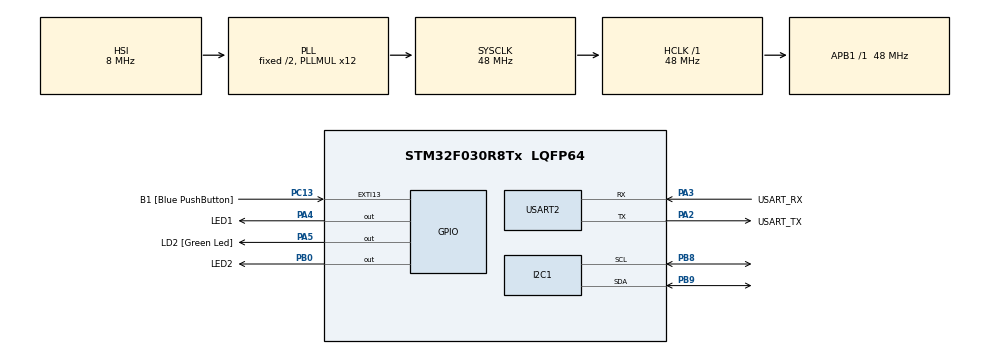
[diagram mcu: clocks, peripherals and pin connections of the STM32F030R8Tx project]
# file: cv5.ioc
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Dma.Request0=USART2_RX
Dma.USART2_RX.0.Direction=DMA_PERIPH_TO_MEMORY
Dma.USART2_RX.0.Instance=DMA1_Channel5
Dma.USART2_RX.0.MemDataAlignment=DMA_MDATAALIGN_BYTE
Dma.USART2_RX.0.MemInc=DMA_MINC_ENABLE
Dma.USART2_RX.0.Mode=DMA_CIRCULAR
Dma.USART2_RX.0.PeriphDataAlignment=DMA_PDATAALIGN_BYTE
Dma.USART2_RX.0.PeriphInc=DMA_PINC_DISABLE
Dma.USART2_RX.0.Priority=DMA_PRIORITY_LOW
Mcu.Family=STM32F0
Mcu.Name=STM32F030R8Tx
Mcu.Package=LQFP64
NVIC.DMA1_Channel4_5_IRQn=true\:0\:0\:false\:false\:true\:false\:true\:true
PA13.GPIO_Label=TMS
PA13.Mode=Serial_Wire
PA13.Signal=SYS_SWDIO
PA14.GPIO_Label=TCK
PA14.Mode=Serial_Wire
PA14.Signal=SYS_SWCLK
PA2.GPIO_Label=USART_TX
PA2.GPIO_Mode=GPIO_MODE_AF_PP
PA2.GPIO_PuPd=GPIO_NOPULL
PA2.GPIO_Speed=GPIO_SPEED_FREQ_LOW
PA2.Mode=Asynchronous
PA2.Signal=USART2_TX
PA3.GPIO_Label=USART_RX
PA3.GPIO_Mode=GPIO_MODE_AF_PP
PA3.GPIO_PuPd=GPIO_NOPULL
PA3.GPIO_Speed=GPIO_SPEED_FREQ_LOW
PA3.Mode=Asynchronous
PA3.Signal=USART2_RX
PA4.GPIO_Label=LED1
PA4.Signal=GPIO_Output
PA5.GPIO_Label=LD2 [Green Led]
PA5.GPIO_Mode=GPIO_MODE_OUTPUT_PP
PA5.GPIO_PuPd=GPIO_NOPULL
PA5.GPIO_Speed=GPIO_SPEED_FREQ_LOW
PA5.Signal=GPIO_Output
PB0.GPIO_Label=LED2
PB0.Signal=GPIO_Output
PB8.Mode=I2C
PB8.Signal=I2C1_SCL
PB9.Mode=I2C
PB9.Signal=I2C1_SDA
PC13.GPIO_Label=B1 [Blue PushButton]
PC13.GPIO_ModeDefaultEXTI=GPIO_MODE_IT_FALLING
PC13.Signal=GPXTI13
PC14-OSC32_IN.Mode=LSE-External-Oscillator
PC14-OSC32_IN.Signal=RCC_OSC32_IN
PC15-OSC32_OUT.Mode=LSE-External-Oscillator
PC15-OSC32_OUT.Signal=RCC_OSC32_OUT
PF0-OSC_IN.Mode=HSE-External-Clock-Source
PF0-OSC_IN.Signal=RCC_OSC_IN
PF1-OSC_OUT.Signal=RCC_OSC_OUT
ProjectManager.HeapSize=0x200
ProjectManager.StackSize=0x400
ProjectManager.TargetToolchain=STM32CubeIDE
RCC.AHBFreq_Value=48000000
RCC.APB1Freq_Value=48000000
RCC.APB1TimFreq_Value=48000000
RCC.HCLKFreq_Value=48000000
RCC.PLLMUL=RCC_PLL_MUL12
RCC.SYSCLKFreq_VALUE=48000000
RCC.SYSCLKSource=RCC_SYSCLKSOURCE_PLLCLK
USART2.VirtualMode-Asynchronous=VM_ASYNC
board=NUCLEO-F030R8

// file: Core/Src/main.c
/* USER CODE BEGIN Header */
/**
  ******************************************************************************
  * @file           : main.c
  * @brief          : Main program body
  ******************************************************************************
  * @attention
  *
  * Copyright (c) 2023 STMicroelectronics.
  * All rights reserved.
  *
  * This software is licensed under terms that can be found in the LICENSE file
  * in the root directory of this software component.
  * If no LICENSE file comes with this software, it is provided AS-IS.
  *
  ******************************************************************************
  */
/* USER CODE END Header */
#include "main.h"

/* USER CODE BEGIN Includes */
#include <stdio.h>
#include <string.h>
#include <stdlib.h>
/* USER CODE END Includes */

/* USER CODE BEGIN PD */
#define RX_BUFFER_LEN 64
#define uart_rx_write_ptr (RX_BUFFER_LEN - hdma_usart2_rx.Instance->CNDTR)
#define CMD_BUFFER_LEN 256
#define EEPROM_ADDR 0xA0
/* USER CODE END PD */

I2C_HandleTypeDef hi2c1;

UART_HandleTypeDef huart2;
DMA_HandleTypeDef hdma_usart2_rx;

/* USER CODE BEGIN PV */
static uint8_t uart_rx_buf[RX_BUFFER_LEN];
static volatile uint16_t uart_rx_read_ptr = 0;
/* USER CODE END PV */

void SystemClock_Config(void);
static void MX_GPIO_Init(void);
static void MX_DMA_Init(void);
static void MX_USART2_UART_Init(void);
static void MX_I2C1_Init(void);

/* USER CODE BEGIN 0 */
static void uart_process_command(char *cmd) {
	char *token;
	token = strtok(cmd, " ");
	if (strcasecmp(token, "HELLO") == 0) {
		printf("Komunikace OK\n");
	} else if (strcasecmp(token, "LED1") == 0) {
		token = strtok(NULL, " ");
		if (strcasecmp(token, "ON") == 0) {
			HAL_GPIO_WritePin(LED1_GPIO_Port, LED1_Pin, 1);
			printf("OK\n");
		} else if (strcasecmp(token, "OFF") == 0) {
			HAL_GPIO_WritePin(LED1_GPIO_Port, LED1_Pin, 0);
			printf("OK\n");
		}
	} else if (strcasecmp(token, "LED2") == 0) {
		token = strtok(NULL, " ");
		if (strcasecmp(token, "ON") == 0) {
			HAL_GPIO_WritePin(LED2_GPIO_Port, LED2_Pin, 1);
			printf("OK\n");
		} else if (strcasecmp(token, "OFF") == 0) {
			HAL_GPIO_WritePin(LED2_GPIO_Port, LED2_Pin, 0);
			printf("OK\n");
		}
	} else if (strcasecmp(token, "STATUS") == 0) {
		uint8_t LED1;
		LED1 = HAL_GPIO_ReadPin(GPIOA, LED1_Pin);
		uint8_t LED2;
		LED2 = HAL_GPIO_ReadPin(GPIOB, LED2_Pin);
		if ((LED1) && (LED2 == 1)) {
			printf("LED1 is ON\nLED2 is ON\n");
		} else if ((LED1 == 1) && (LED2 == 0)) {
			printf("LED1 is ON\nLED2 is OFF\n");
		} else if ((LED1 == 0) && (LED2 == 0)) {
			printf("LED1 is OFF\nLED2 is OFF\n");
		} else if ((LED1 == 0) && (LED2 == 1)) {
			printf("LED1 is OFF\nLED2 is ON\n");
		}

	} else if (strcasecmp(token, "READ") == 0) {
		uint16_t addr = 0;
		uint8_t value = 0;
		token = strtok(NULL, " ");
		addr = atoi(token);
		HAL_I2C_Mem_Read(&hi2c1, EEPROM_ADDR, addr, I2C_MEMADD_SIZE_16BIT,
				&value, 1, 1000);
		printf("Adress: 0x%04X = 0x%02X\n", addr, value);

	} else if (strcasecmp(token, "WRITE") == 0) {
		uint16_t addr = 0;
		uint8_t value = 0;
		token = strtok(NULL, " ");
		addr = atoi(token);
		token = strtok(NULL, " ");
		value = atoi(token);
		HAL_I2C_Mem_Write(&hi2c1, EEPROM_ADDR, addr, I2C_MEMADD_SIZE_16BIT,
				&value, 1, 1000);
		while (HAL_I2C_IsDeviceReady(&hi2c1, EEPROM_ADDR, 300, 1000)
				== HAL_TIMEOUT) {
		}
		printf("Adress: 0x%04X changed to: 0x%02X\n", addr, value);

	} else if (strcasecmp(token, "DUMP") == 0) {
		uint8_t value = 0;
		for (uint16_t i = 0; i < 16; i++) {
			HAL_I2C_Mem_Read(&hi2c1, EEPROM_ADDR, i, I2C_MEMADD_SIZE_16BIT,
					&value, 1, 1000);
			printf("0x%04X 0x%02X\n", i, value);
		}
	} else {
		printf("prijato: '%s'\n", cmd);
	}
}
int _write(int file, char const *buf, int n) {
	/* stdout redirection to UART2 */
	HAL_UART_Transmit(&huart2, (uint8_t*) (buf), n, HAL_MAX_DELAY);
	return n;
}
static void uart_byte_available(uint8_t c) {
	static uint16_t cnt;
	static char data[CMD_BUFFER_LEN];
	if (cnt < CMD_BUFFER_LEN && c >= 32 && c <= 126)
		data[cnt++] = c;
	if ((c == '\n' || c == '\r') && cnt > 0) {
		data[cnt] = '\0';
		uart_process_command(data);
		cnt = 0;
	}
}
/* USER CODE END 0 */

int main(void)
{

  /* MCU Configuration--------------------------------------------------------*/

  /* Reset of all peripherals, Initializes the Flash interface and the Systick. */
  HAL_Init();

  /* Configure the system clock */
  SystemClock_Config();

  /* Initialize all configured peripherals */
  MX_GPIO_Init();
  MX_DMA_Init();
  MX_USART2_UART_Init();
  MX_I2C1_Init();
  /* USER CODE BEGIN 2 */
  HAL_UART_Receive_DMA(&huart2, uart_rx_buf, RX_BUFFER_LEN);
  /* USER CODE END 2 */

  /* Infinite loop */
  /* USER CODE BEGIN WHILE */
  while (1)
  {
	  while (uart_rx_read_ptr != uart_rx_write_ptr) {
	   uint8_t b = uart_rx_buf[uart_rx_read_ptr];
	   if (++uart_rx_read_ptr >= RX_BUFFER_LEN) uart_rx_read_ptr = 0; // increase read pointer
	   uart_byte_available(b); // process every received byte with the RX state machine
	  }
    /* USER CODE END WHILE */

  }
}

void SystemClock_Config(void)
{
  RCC_OscInitTypeDef RCC_OscInitStruct = {0};
  RCC_ClkInitTypeDef RCC_ClkInitStruct = {0};
  RCC_PeriphCLKInitTypeDef PeriphClkInit = {0};

  /** Initializes the RCC Oscillators according to the specified parameters
  * in the RCC_OscInitTypeDef structure.
  */
  RCC_OscInitStruct.OscillatorType = RCC_OSCILLATORTYPE_HSI;
  RCC_OscInitStruct.HSIState = RCC_HSI_ON;
  RCC_OscInitStruct.HSICalibrationValue = RCC_HSICALIBRATION_DEFAULT;
  RCC_OscInitStruct.PLL.PLLState = RCC_PLL_ON;
  RCC_OscInitStruct.PLL.PLLSource = RCC_PLLSOURCE_HSI;
  RCC_OscInitStruct.PLL.PLLMUL = RCC_PLL_MUL12;
  RCC_OscInitStruct.PLL.PREDIV = RCC_PREDIV_DIV1;
  if (HAL_RCC_OscConfig(&RCC_OscInitStruct) != HAL_OK)
  {
    Error_Handler();
  }

  /** Initializes the CPU, AHB and APB buses clocks
  */
  RCC_ClkInitStruct.ClockType = RCC_CLOCKTYPE_HCLK|RCC_CLOCKTYPE_SYSCLK
                              |RCC_CLOCKTYPE_PCLK1;
  RCC_ClkInitStruct.SYSCLKSource = RCC_SYSCLKSOURCE_PLLCLK;
  RCC_ClkInitStruct.AHBCLKDivider = RCC_SYSCLK_DIV1;
  RCC_ClkInitStruct.APB1CLKDivider = RCC_HCLK_DIV1;

  if (HAL_RCC_ClockConfig(&RCC_ClkInitStruct, FLASH_LATENCY_1) != HAL_OK)
  {
    Error_Handler();
  }
  PeriphClkInit.PeriphClockSelection = RCC_PERIPHCLK_I2C1;
  PeriphClkInit.I2c1ClockSelection = RCC_I2C1CLKSOURCE_HSI;
  if (HAL_RCCEx_PeriphCLKConfig(&PeriphClkInit) != HAL_OK)
  {
    Error_Handler();
  }
}

static void MX_I2C1_Init(void)
{

  hi2c1.Instance = I2C1;
  hi2c1.Init.Timing = 0x2000090E;
  hi2c1.Init.OwnAddress1 = 0;
  hi2c1.Init.AddressingMode = I2C_ADDRESSINGMODE_7BIT;
  hi2c1.Init.DualAddressMode = I2C_DUALADDRESS_DISABLE;
  hi2c1.Init.OwnAddress2 = 0;
  hi2c1.Init.OwnAddress2Masks = I2C_OA2_NOMASK;
  hi2c1.Init.GeneralCallMode = I2C_GENERALCALL_DISABLE;
  hi2c1.Init.NoStretchMode = I2C_NOSTRETCH_DISABLE;
  if (HAL_I2C_Init(&hi2c1) != HAL_OK)
  {
    Error_Handler();
  }

  /** Configure Analogue filter
  */
  if (HAL_I2CEx_ConfigAnalogFilter(&hi2c1, I2C_ANALOGFILTER_ENABLE) != HAL_OK)
  {
    Error_Handler();
  }

  /** Configure Digital filter
  */
  if (HAL_I2CEx_ConfigDigitalFilter(&hi2c1, 0) != HAL_OK)
  {
    Error_Handler();
  }

}

static void MX_USART2_UART_Init(void)
{

  huart2.Instance = USART2;
  huart2.Init.BaudRate = 38400;
  huart2.Init.WordLength = UART_WORDLENGTH_8B;
  huart2.Init.StopBits = UART_STOPBITS_1;
  huart2.Init.Parity = UART_PARITY_NONE;
  huart2.Init.Mode = UART_MODE_TX_RX;
  huart2.Init.HwFlowCtl = UART_HWCONTROL_NONE;
  huart2.Init.OverSampling = UART_OVERSAMPLING_16;
  huart2.Init.OneBitSampling = UART_ONE_BIT_SAMPLE_DISABLE;
  huart2.AdvancedInit.AdvFeatureInit = UART_ADVFEATURE_NO_INIT;
  if (HAL_UART_Init(&huart2) != HAL_OK)
  {
    Error_Handler();
  }

}

static void MX_DMA_Init(void)
{

  /* DMA controller clock enable */
  __HAL_RCC_DMA1_CLK_ENABLE();

  /* DMA interrupt init */
  /* DMA1_Channel4_5_IRQn interrupt configuration */
  HAL_NVIC_SetPriority(DMA1_Channel4_5_IRQn, 0, 0);
  HAL_NVIC_EnableIRQ(DMA1_Channel4_5_IRQn);

}

static void MX_GPIO_Init(void)
{
  GPIO_InitTypeDef GPIO_InitStruct = {0};

  /* GPIO Ports Clock Enable */
  __HAL_RCC_GPIOC_CLK_ENABLE();
  __HAL_RCC_GPIOF_CLK_ENABLE();
  __HAL_RCC_GPIOA_CLK_ENABLE();
  __HAL_RCC_GPIOB_CLK_ENABLE();

  /*Configure GPIO pin Output Level */
  HAL_GPIO_WritePin(GPIOA, LED1_Pin|LD2_Pin, GPIO_PIN_RESET);

  /*Configure GPIO pin Output Level */
  HAL_GPIO_WritePin(LED2_GPIO_Port, LED2_Pin, GPIO_PIN_RESET);

  /*Configure GPIO pin : B1_Pin */
  GPIO_InitStruct.Pin = B1_Pin;
  GPIO_InitStruct.Mode = GPIO_MODE_IT_FALLING;
  GPIO_InitStruct.Pull = GPIO_NOPULL;
  HAL_GPIO_Init(B1_GPIO_Port, &GPIO_InitStruct);

  /*Configure GPIO pins : LED1_Pin LD2_Pin */
  GPIO_InitStruct.Pin = LED1_Pin|LD2_Pin;
  GPIO_InitStruct.Mode = GPIO_MODE_OUTPUT_PP;
  GPIO_InitStruct.Pull = GPIO_NOPULL;
  GPIO_InitStruct.Speed = GPIO_SPEED_FREQ_LOW;
  HAL_GPIO_Init(GPIOA, &GPIO_InitStruct);

  /*Configure GPIO pin : LED2_Pin */
  GPIO_InitStruct.Pin = LED2_Pin;
  GPIO_InitStruct.Mode = GPIO_MODE_OUTPUT_PP;
  GPIO_InitStruct.Pull = GPIO_NOPULL;
  GPIO_InitStruct.Speed = GPIO_SPEED_FREQ_LOW;
  HAL_GPIO_Init(LED2_GPIO_Port, &GPIO_InitStruct);

}

void Error_Handler(void)
{
  __disable_irq();
  while (1)
  {
  }
}
